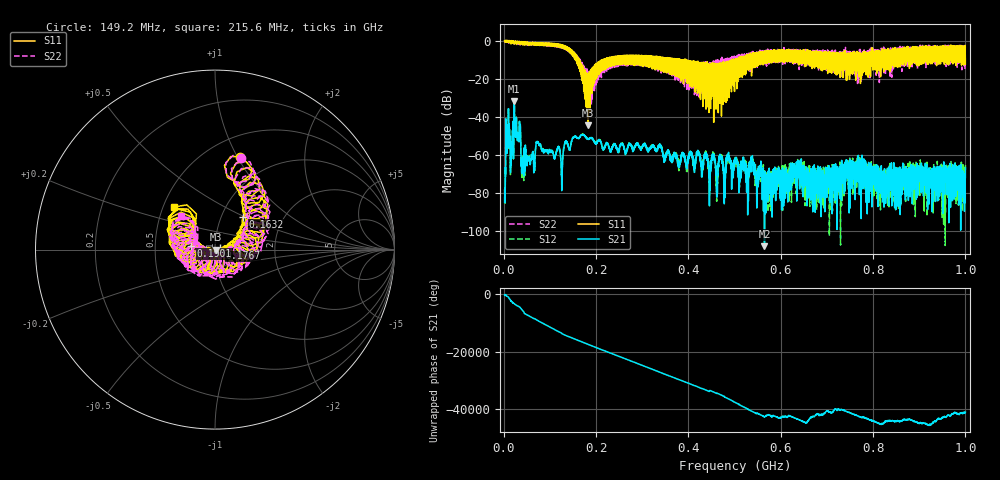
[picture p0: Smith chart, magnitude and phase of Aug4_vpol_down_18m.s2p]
!Keysight Technologies N9923A: A.12.45
!Date: Tuesday, 05 August 2025 20:41:36
!Timezone: (UTC+08:00) Kuala Lumpur, Singapore
!Model: N9923A
!Serial: MY61181427
!GPS Latitude:
!GPS Longitude:
!GPS TimeStamp: 0001-01-01 00:00:00Z
!GPS Seconds Since Last Read: 0
!CHECKSUM:2003321777
!Correction: S11(ON U)S21(ON U)S12(ON U)S22(ON U)
!S2P File: Measurements:S11,S21,S12,S22:
# Hz S DB R 50
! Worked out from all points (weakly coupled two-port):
!   4001 points, 2 MHz to 1 GHz, reference 50 ohm
!   highest |S21| = -31.71 dB at 22.96 MHz (marker M1); lowest = -107.9 dB at 564.9 MHz (marker M2)
!   lowest |S11| = -44.4 dB at 183.1 MHz (marker M3), VSWR 1.01, Z = 50.6 - j0.061 ohm
!   |S11| at or under -10 dB: 162.9 MHz to 212.3 MHz (49.46 MHz wide, 26.4 % of centre); 382.1 MHz to 391.9 MHz (9.815 MHz wide, 2.54 % of centre); 395.5 MHz to 494 MHz (98.49 MHz wide, 22.1 % of centre)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
!   |S22| runs from -36.3 to 0.1 dB; largest |S21 - S12| = 0.0012
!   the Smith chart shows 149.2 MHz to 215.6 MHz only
!   S11 on the Smith chart (normalised r, x): 149.2 MHz: 0.71, +1.03; 163.2 MHz: 1.27, +0.49; 176.7 MHz: 1.06, +0.02; 190.1 MHz: 0.76, +0.03; 215.6 MHz: 0.57, +0.31
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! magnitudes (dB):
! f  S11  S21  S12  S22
! 2 MHz  -0.1  -84.6  -77.9  -0.1
! 9.236 MHz  -0.8  -46.2  -46.2  -0.7
! 22.96 MHz  -1.4  -31.7  -31.8  -1.4
! 31.94 MHz  -0.6  -50.8  -50.5  -0.6
! 42.42 MHz  -1.1  -64.6  -64.8  -1.1
! 74.85 MHz  -2.3  -53.2  -53.0  -2.2
! 125.8 MHz  -2.2  -78.7  -78.4  -2.5
! 149.2 MHz  -5.4  -51.1  -51.1  -5.5
! 163.2 MHz  -12.3  -51.4  -51.1  -11.1
! 168.4 MHz  -18.9  -49.4  -49.4  -16.3
! 176.7 MHz  -30.8  -50.1  -50.1  -21.9
! 183.1 MHz  -44.4  -51.6  -51.6  -23.2
! 190.1 MHz  -17.4  -51.2  -50.9  -23.3
! 215.6 MHz  -9.7  -56.6  -56.9  -11.5
! 334.8 MHz  -8.5  -55.7  -55.5  -10.4
! 460.8 MHz  -12.2  -72.8  -72.1  -11.5
! 501 MHz  -9.9  -64.0  -62.2  -9.0
! 564.9 MHz  -6.0  -107.9  -78.6  -5.9
! 667.4 MHz  -5.9  -74.9  -70.8  -7.0
! 771 MHz  -18.6  -62.4  -75.4  -5.8
! 833.8 MHz  -6.2  -86.5  -69.2  -13.8
! 1 GHz  -12.3  -66.8  -64.1  -4.0
